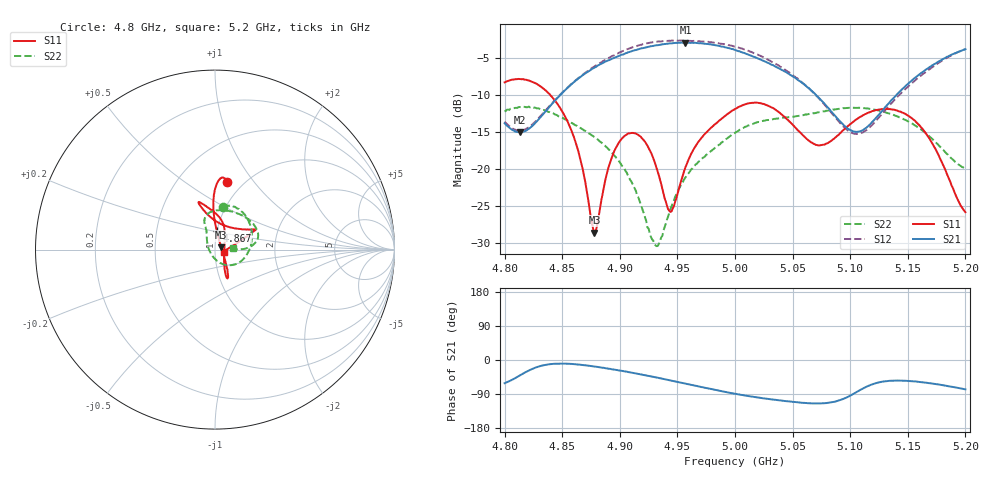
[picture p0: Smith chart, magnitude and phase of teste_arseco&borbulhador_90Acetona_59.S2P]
! Network Analyzer HP8722D
! Hewlett-Packard
! Data name: Linha & Wilkinson
! Saver's name: Rodrigo Anjos
! Comments: Teste da utilização de aquisição
! continua pelo VNA HP8722D
! Time and date: 17/4/2025 11:32
!  Frequency  S11  S21  S12  S22
# HZ  S  MA R 50
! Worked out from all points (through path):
!   401 points, 4.8 GHz to 5.2 GHz, reference 50 ohm
!   highest |S21| = -2.97 dB at 4.957 GHz (marker M1); lowest = -15.1 dB at 4.813 GHz (marker M2)
!   lowest |S11| = -28.6 dB at 4.878 GHz (marker M3), VSWR 1.08, Z = 53.6 + j1.3 ohm
!   |S11| at or under -10 dB: 4.839 GHz to end of sweep
!   |S22| runs from -30.4 to -11.6 dB; largest |S21 - S12| = 1.4
!   S11 on the Smith chart (normalised r, x): 4.8 GHz: 0.84, +0.75; 4.867 GHz: 1.00, +0.21; 5.2 GHz: 1.10, -0.03
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4.8e9  0.3835 79.8  0.2033 -61.2  0.2085 73.7  0.244 78.9
4.813e9  0.4036 83.9  0.1767 -41.3  0.1813 92.2  0.2616 68.2
4.845e9  0.2802 91.7  0.2964 -9.7  0.2979 123.0  0.2315 28.8
4.858e9  0.1815 91.3  0.3727 -10.4  0.3737 124.2  0.2045 9.6
4.867e9  0.1061 84.7  0.4239 -13.1  0.4265 123.5  0.1866 -3.8
4.878e9  0.03729 18.9  0.4824 -17.3  0.4907 121.3  0.1641 -20.6
4.892e9  0.1129 -55.3  0.5469 -23.6  0.5685 117.0  0.1311 -40.4
4.905e9  0.1689 -64.3  0.6017 -30.4  0.6347 111.3  0.09688 -59.3
4.92e9  0.1587 -67.4  0.6519 -39.2  0.6939 103.0  0.05238 -89.7
4.929e9  0.1183 -63.3  0.6748 -44.3  0.716 97.6  0.03304 -133.4
4.934e9  0.0901 -55.3  0.6844 -47.7  0.7245 94.4  0.03141 -171.9
4.944e9  0.05132 -2.2  0.7024 -53.9  0.7303 88.0  0.05396 142.1
4.957e9  0.1029 57.8  0.71 -62.2  0.7329 79.7  0.08768 122.0
4.972e9  0.1656 77.1  0.7018 -71.7  0.7224 70.0  0.1187 114.1
5e9  0.2539 103.2  0.6339 -89.1  0.6692 51.7  0.1752 110.0
5.029e9  0.2666 109.1  0.5173 -102.8  0.5432 36.0  0.2139 93.4
5.067e9  0.1501 81.2  0.3338 -114.4  0.3333 26.2  0.2361 59.7
5.08e9  0.1487 56.9  0.2622 -113.3  0.2588 28.7  0.2465 46.7
5.104e9  0.2125 32.0  0.1785 -87.3  0.1725 56.7  0.2582 26.8
5.134e9  0.2534 26.2  0.2803 -55.0  0.2675 91.0  0.2364 11.5
5.164e9  0.181 21.7  0.4563 -59.3  0.4412 88.3  0.1787 2.7
5.2e9  0.05115 -16.7  0.6411 -77.5  0.6447 71.7  0.1005 4.6
